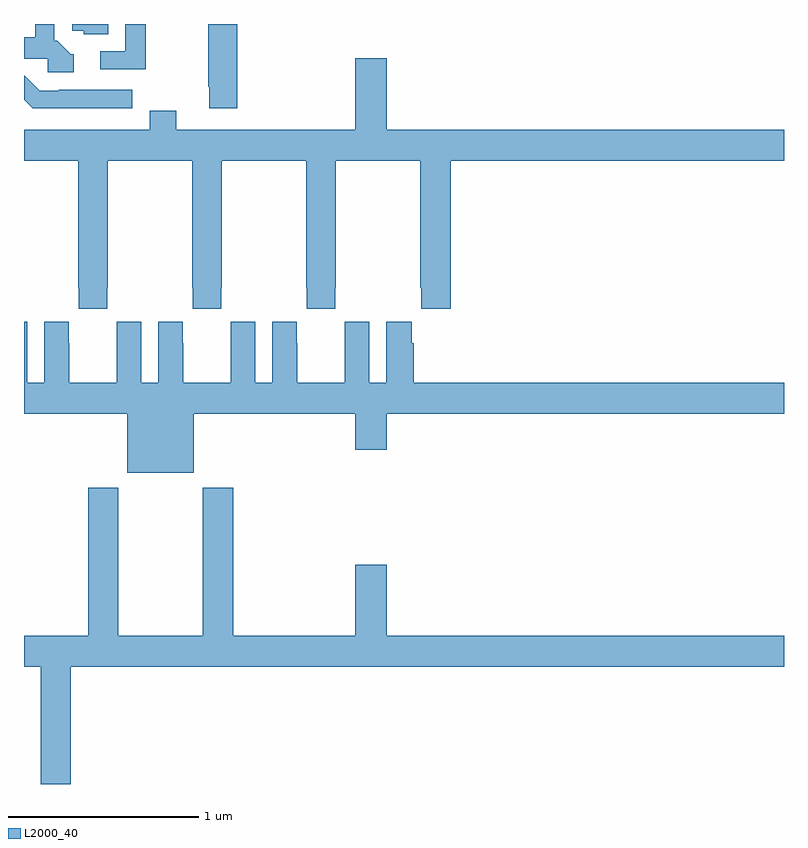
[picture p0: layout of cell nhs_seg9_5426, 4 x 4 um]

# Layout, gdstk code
import gdstk
lib = gdstk.Library(unit=1e-6, precision=1e-09)
def P(c, l, *ps):  # polygons
    for p in ps: c.add(gdstk.Polygon(p, *l))
L2000_40 = (2000, 40)

nhs_seg9_5426 = lib.new_cell('nhs_seg9_5426')
P(nhs_seg9_5426, L2000_40, [(427.443,1170.5),(427.254,1170.5),(427.254,1170.465),(427.314,1170.465),(427.314,1170.446),(427.443,1170.446)],
  [(428.123,1170.5),(427.969,1170.5),(427.969,1170.169),(427.976,1170.169),(427.976,1170.057),(428.123,1170.057)],
  [(427.642,1170.5),(427.533,1170.5),(427.533,1170.357),(427.401,1170.357),(427.401,1170.261),(427.642,1170.261)],
  [(427.261,1170.342),(427.245,1170.342),(427.176,1170.411),(427.158,1170.411),(427.158,1170.5),(427.06,1170.5),(427.06,1170.429),(427,1170.429),(427,1170.318),(427.125,1170.318),(427.125,1170.246),(427.261,1170.246)],
  [(427.437,1169.113),(427.44,1169.113),(427.44,1169.78),(427.885,1169.78),(427.885,1169.113),(427.887,1169.113),(427.887,1169.001),(428.037,1169.001),(428.037,1169.113),(428.04,1169.113),(428.04,1169.78),(428.485,1169.78),(428.485,1169.113),(428.487,1169.113),(428.487,1169.001),(428.637,1169.001),(428.637,1169.113),(428.64,1169.113),(428.64,1169.78),(429.085,1169.78),(429.085,1169.113),(429.091,1169.113),(429.091,1169.001),(429.245,1169.001),(429.245,1169.78),(431,1169.78),(431,1169.944),(428.908,1169.944),(428.908,1170.319),(428.744,1170.319),(428.744,1169.944),(427.801,1169.944),(427.801,1170.043),(427.661,1170.043),(427.661,1169.944),(427,1169.944),(427,1169.78),(427.285,1169.78),(427.285,1169.113),(427.287,1169.113),(427.287,1169.001),(427.437,1169.001)],
  [(427.241,1170.057),(427.57,1170.057),(427.57,1170.153),(427.183,1170.153),(427.183,1170.15),(427.083,1170.15),(427.005,1170.228),(427,1170.228),(427,1170.101),(427.045,1170.056),(427.241,1170.056)],
  [(427.894,1168.448),(428.744,1168.448),(428.744,1168.26),(428.908,1168.26),(428.908,1168.448),(431,1168.448),(431,1168.612),(429.05,1168.612),(429.05,1168.82),(429.04,1168.82),(429.04,1168.933),(428.906,1168.933),(428.906,1168.612),(428.818,1168.612),(428.818,1168.933),(428.688,1168.933),(428.688,1168.82),(428.687,1168.82),(428.687,1168.612),(428.437,1168.612),(428.437,1168.82),(428.436,1168.82),(428.436,1168.933),(428.306,1168.933),(428.306,1168.612),(428.218,1168.612),(428.218,1168.933),(428.088,1168.933),(428.088,1168.82),(428.087,1168.82),(428.087,1168.612),(427.837,1168.612),(427.837,1168.82),(427.836,1168.82),(427.836,1168.933),(427.706,1168.933),(427.706,1168.612),(427.618,1168.612),(427.618,1168.933),(427.488,1168.933),(427.488,1168.82),(427.487,1168.82),(427.487,1168.612),(427.237,1168.612),(427.237,1168.82),(427.236,1168.82),(427.236,1168.933),(427.106,1168.933),(427.106,1168.612),(427.018,1168.612),(427.018,1168.933),(427,1168.933),(427,1168.448),(427.544,1168.448),(427.544,1168.139),(427.894,1168.139)],
  [(427.247,1167.116),(431,1167.116),(431,1167.28),(428.908,1167.28),(428.908,1167.655),(428.744,1167.655),(428.744,1167.28),(428.102,1167.28),(428.102,1168.06),(427.942,1168.06),(427.942,1167.28),(427.497,1167.28),(427.497,1168.06),(427.337,1168.06),(427.337,1167.28),(427,1167.28),(427,1167.116),(427.087,1167.116),(427.087,1166.5),(427.247,1166.5)])

lib.write_gds('nhs_seg9_5426.gds')
